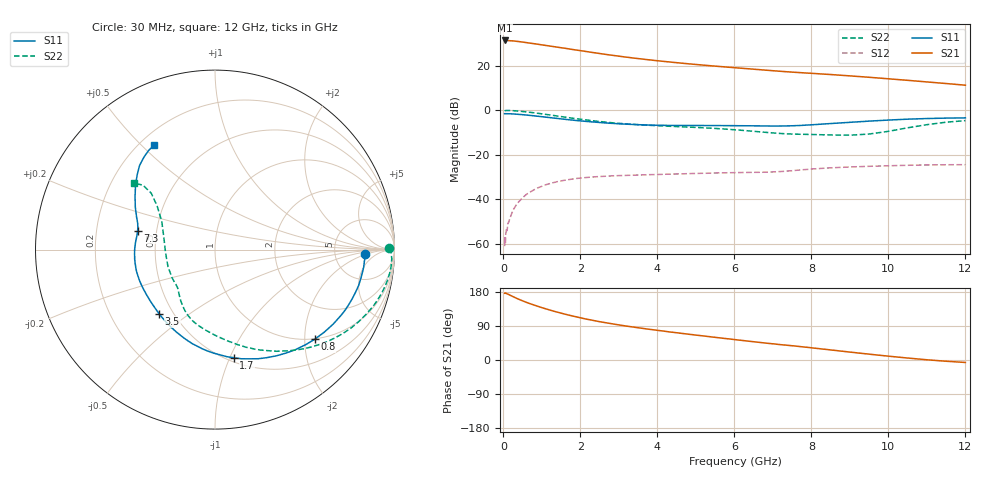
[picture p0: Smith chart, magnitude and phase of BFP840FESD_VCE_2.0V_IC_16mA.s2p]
! Infineon Technologies  Discrete & RF Semiconductors
! BFP840FESD
! VCE =  2.0 V,  IC =  16 mA
! Common Emitter S-Parameters:  May 2012
# GHz  S  MA  R  50
!  f  S11  S21  S12  S22
! GHz  MAG  ANG  MAG  ANG  MAG  ANG  MAG  ANG
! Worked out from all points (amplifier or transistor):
!   103 points, 30 MHz to 12 GHz, reference 50 ohm
!   highest |S21| = 31.3 dB at 30 MHz (marker M1)
!   |S21| within 3 dB of that: start of sweep to 1.396 GHz
!   unconditionally stable (mu >= 1): 6.077 GHz to end of sweep
!   at 400 MHz: K = 0.15, MSG = 35.9 dB, |S12| = -41.0 dB
!   at 3.7 GHz: K = 0.67, MSG = 25.8 dB, |S12| = -28.9 dB
!   at 12 GHz: K = 1.11, MAG = 15.8 dB, |S12| = -24.4 dB
!   S11 on the Smith chart (normalised r, x): 30 MHz: 11, -2; 800 MHz: 0.99, -2.24; 1.7 GHz: 0.54, -1.04; 3.5 GHz: 0.42, -0.39; 7.3 GHz: 0.39, +0.10; 12 GHz: 0.26, +0.54
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0.03  0.835 -1.5  36.53 176.0  0.0009 65.2  0.9697 0.4
0.04  0.8367 -2.1  36.48 175.7  0.0014 58.2  0.9762 -0.2
0.05  0.834 -2.6  36.48 176.8  0.001 94.6  0.9799 -0.7
0.25  0.825 -14.0  35.65 167.2  0.0058 82.0  0.9764 -10.0
0.45  0.8005 -24.6  34.05 158.1  0.0099 74.5  0.9451 -17.9
0.6  0.7785 -32.2  32.66 152.0  0.0131 71.3  0.9153 -23.3
0.8  0.7472 -41.9  30.9 144.8  0.0166 65.7  0.8734 -30.2
1  0.7156 -51.1  29.07 138.1  0.0198 61.0  0.8289 -36.5
1.2  0.6839 -59.9  27.42 132.0  0.0226 57.0  0.7842 -42.5
1.5  0.6388 -72.3  25.09 123.6  0.0261 51.1  0.72 -50.9
1.7  0.6114 -80.1  23.62 118.4  0.0279 48.0  0.6798 -56.2
2.1  0.5665 -94.2  20.96 109.1  0.0308 42.5  0.6126 -65.9
2.4  0.5396 -103.4  19.18 103.0  0.0323 39.2  0.5711 -72.3
2.7  0.5148 -111.9  17.59 97.6  0.0333 36.8  0.5361 -77.9
3.5  0.4746 -130.9  14.34 85.1  0.0353 32.5  0.4739 -90.7
4.1  0.4595 -143.0  12.57 77.0  0.0365 31.0  0.4453 -98.5
5  0.4543 -158.5  10.58 65.7  0.0382 30.2  0.4112 -108.5
6.1  0.4493 -174.9  8.829 52.8  0.0401 29.7  0.3595 -120.3
7.3  0.4438 166.2  7.332 39.6  0.0428 33.8  0.2975 -134.6
8.5  0.5028 152.0  6.298 26.6  0.0512 32.7  0.2786 -160.1
10.5  0.6301 131.8  4.671 5.2  0.0584 26.4  0.4039 143.0
12  0.6733 120.4  3.634 -6.5  0.0602 24.2  0.5845 140.7
